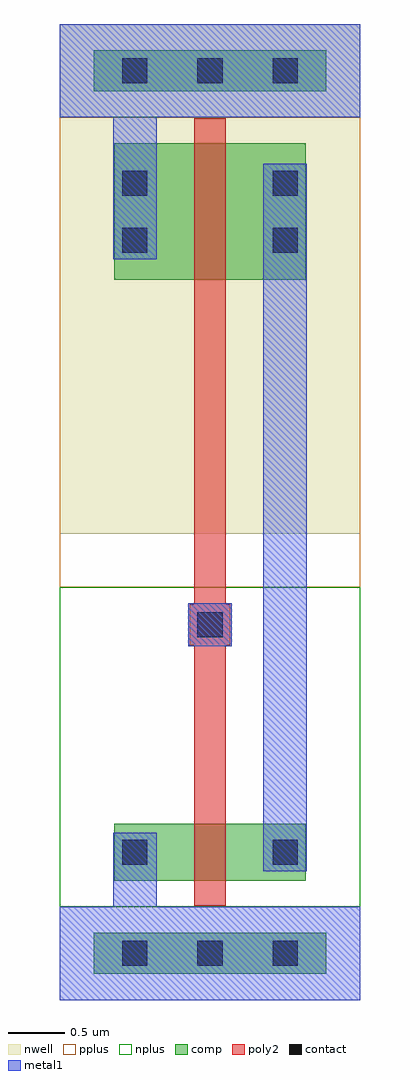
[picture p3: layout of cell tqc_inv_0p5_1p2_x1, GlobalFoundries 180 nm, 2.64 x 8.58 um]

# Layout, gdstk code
import gdstk
lib = gdstk.Library(unit=1e-6, precision=1e-09)
def R(c, l, rs):  # rectangles x0, y0, x1, y1
    for r in rs: c.add(gdstk.rectangle(r[:2], r[2:], *l))
def A(c, l, x, y, w, h, nx, ny, dx, dy):  # array of equal rectangles
    R(c, l, [(x+i*dx, y+j*dy, x+i*dx+w, y+j*dy+h) for i in range(nx) for j in range(ny)])
nwell = (21, 0)
comp = (22, 0)
poly2 = (30, 0)
pplus = (31, 0)
nplus = (32, 0)
contact = (33, 0)
metal1 = (34, 0)

tqc_inv_0p5_1p2_x1 = lib.new_cell('tqc_inv_0p5_1p2_x1')
R(tqc_inv_0p5_1p2_x1, nwell, [(0,4.1,2.64,8.58)])
R(tqc_inv_0p5_1p2_x1, comp, [(0.3,0.23,2.34,0.59), (0.48,1.05,2.16,1.55), (0.48,6.33,2.16,7.53), (0.3,7.99,2.34,8.35)])
R(tqc_inv_0p5_1p2_x1, poly2, [(1.18,0.83,1.46,7.75), (1.14,3.12,1.5,3.48)])
R(tqc_inv_0p5_1p2_x1, pplus, [(0,0,2.64,0.82), (0,3.63,2.64,7.76)])
R(tqc_inv_0p5_1p2_x1, nplus, [(0,0.82,2.64,3.63), (0,7.76,2.64,8.58)])
A(tqc_inv_0p5_1p2_x1, contact, 0.55, 0.3, 0.22, 0.22, 3, 2, 0.66, 7.76)
R(tqc_inv_0p5_1p2_x1, contact, [(0.55,1.19,0.77,1.41), (1.87,1.19,2.09,1.41), (1.21,3.19,1.43,3.41), (0.55,6.57,0.77,6.79), (1.87,6.57,2.09,6.79), (0.55,7.07,0.77,7.29), (1.87,7.07,2.09,7.29)])
R(tqc_inv_0p5_1p2_x1, metal1, [(0,0,2.64,0.82), (0.47,0,0.85,1.47), (1.79,1.13,2.17,1.47), (1.79,1.37,2.17,4.15), (1.13,3.11,1.51,3.49), (1.79,3.77,2.17,6.61), (0.47,6.51,0.85,8.58), (1.79,6.51,2.17,7.35), (0,7.76,2.64,8.58)])

lib.write_gds('tqc_inv_0p5_1p2_x1.gds')
